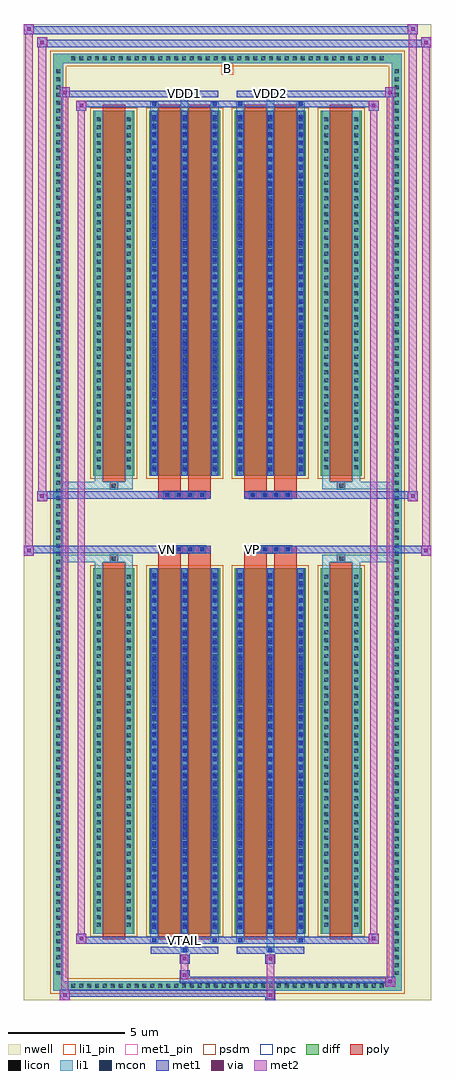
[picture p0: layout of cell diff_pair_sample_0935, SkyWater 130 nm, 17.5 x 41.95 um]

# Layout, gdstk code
import gdstk
lib = gdstk.Library(unit=1e-6, precision=5e-09)
def R(c, l, rs):  # rectangles x0, y0, x1, y1
    for r in rs: c.add(gdstk.rectangle(r[:2], r[2:], *l))
def A(c, l, x, y, w, h, nx, ny, dx, dy):  # array of equal rectangles
    R(c, l, [(x+i*dx, y+j*dy, x+i*dx+w, y+j*dy+h) for i in range(nx) for j in range(ny)])
def P(c, l, *ps):  # polygons
    for p in ps: c.add(gdstk.Polygon(p, *l))
nwell = (64, 20)
diff = (65, 20)
poly = (66, 20)
licon = (66, 44)
li1_pin = (67, 16)
li1 = (67, 20)
mcon = (67, 44)
met1_pin = (68, 16)
met1 = (68, 20)
via = (68, 44)
met2 = (69, 20)
psdm = (94, 20)
npc = (95, 20)

diff_pair_sample_0935 = lib.new_cell('diff_pair_sample_0935')
R(diff_pair_sample_0935, nwell, [(-8.75,-20.54,8.75,21.41), (-6.07,-18.73,-0.01,-0.805), (0.01,-18.73,6.07,-0.805), (-6.07,0.805,-0.01,18.73), (0.01,0.805,6.07,18.73)])
A(diff_pair_sample_0935, diff, -6.835, -20.14, 0.41, 0.41, 40, 2, 0.34, 39.87)
A(diff_pair_sample_0935, diff, -7.48, -19.585, 0.41, 0.41, 1, 115, 0, 0.34)
A(diff_pair_sample_0935, diff, 7.07, -19.585, 0.41, 0.41, 1, 115, 0, 0.34)
R(diff_pair_sample_0935, diff, [(-6.835,-20.14,6.835,-19.73), (-7.48,-19.585,-7.07,19.585), (7.07,-19.585,7.48,19.585), (-5.76,-17.685,-4.01,-1.985), (-3.37,-17.685,-0.32,-1.985), (0.32,-17.685,3.37,-1.985), (4.01,-17.685,5.76,-1.985), (-5.76,1.985,-4.01,17.685), (-3.37,1.985,-0.32,17.685), (0.32,1.985,3.37,17.685), (4.01,1.985,5.76,17.685), (-6.835,19.73,6.835,20.14)])
P(diff_pair_sample_0935, diff, [(7.48,20.14),(-7.48,20.14),(-7.48,-19.73),(-7.07,-19.73),(-7.07,19.73),(7.07,19.73),(7.07,-19.73),(-7.07,-19.73),(-7.48,-19.73),(-7.48,-20.14),(7.48,-20.14)])
A(diff_pair_sample_0935, poly, -2.76, -1.335, 0.33, 0.33, 4, 2, 0.5, 2.34)
A(diff_pair_sample_0935, poly, 0.93, -1.335, 0.33, 0.33, 4, 2, 0.5, 2.34)
R(diff_pair_sample_0935, poly, [(-5.37,-17.935,-4.4,-1.735), (-2.98,-17.935,-2.01,-1.735), (-1.68,-17.935,-0.71,-1.735), (0.71,-17.935,1.68,-1.735), (2.01,-17.935,2.98,-1.735), (4.4,-17.935,5.37,-1.735), (-5.05,-1.735,-4.72,-1.405), (-5.05,-1.735,-4.72,-1.405), (-2.98,-1.735,-2.01,-1.335), (-1.68,-1.735,-0.71,-1.335), (0.71,-1.735,1.68,-1.335), (2.01,-1.735,2.98,-1.335), (4.72,-1.735,5.05,-1.405), (4.72,-1.735,5.05,-1.405), (-2.98,-1.335,-0.71,-1.005), (0.71,-1.335,2.98,-1.005), (-2.98,1.005,-0.71,1.335), (0.71,1.005,2.98,1.335), (-2.98,1.335,-2.01,1.735), (-1.68,1.335,-0.71,1.735), (0.71,1.335,1.68,1.735), (2.01,1.335,2.98,1.735), (-5.05,1.405,-4.72,1.735), (-5.05,1.405,-4.72,1.735), (4.72,1.405,5.05,1.735), (4.72,1.405,5.05,1.735), (-5.37,1.735,-4.4,17.935), (-2.98,1.735,-2.01,17.935), (-1.68,1.735,-0.71,17.935), (0.71,1.735,1.68,17.935), (2.01,1.735,2.98,17.935), (4.4,1.735,5.37,17.935)])
A(diff_pair_sample_0935, licon, -6.715, -20.02, 0.17, 0.17, 40, 2, 0.34, 39.87)
A(diff_pair_sample_0935, licon, -7.36, -19.465, 0.17, 0.17, 1, 115, 0, 0.34)
A(diff_pair_sample_0935, licon, 7.19, -19.465, 0.17, 0.17, 1, 115, 0, 0.34)
A(diff_pair_sample_0935, licon, -5.62, -17.4, 0.17, 0.17, 1, 45, 0, 0.34)
A(diff_pair_sample_0935, licon, -4.32, -17.4, 0.17, 0.17, 1, 45, 0, 0.34)
A(diff_pair_sample_0935, licon, -3.23, -17.4, 0.17, 0.17, 3, 45, 1.3, 0.34)
A(diff_pair_sample_0935, licon, 0.46, -17.4, 0.17, 0.17, 3, 45, 1.3, 0.34)
A(diff_pair_sample_0935, licon, 4.15, -17.4, 0.17, 0.17, 1, 45, 0, 0.34)
A(diff_pair_sample_0935, licon, 5.45, -17.4, 0.17, 0.17, 1, 45, 0, 0.34)
A(diff_pair_sample_0935, licon, -2.68, -1.255, 0.17, 0.17, 4, 2, 0.5, 2.34)
A(diff_pair_sample_0935, licon, 1.01, -1.255, 0.17, 0.17, 4, 2, 0.5, 2.34)
A(diff_pair_sample_0935, licon, -5.62, 2.27, 0.17, 0.17, 1, 45, 0, 0.34)
A(diff_pair_sample_0935, licon, -4.32, 2.27, 0.17, 0.17, 1, 45, 0, 0.34)
A(diff_pair_sample_0935, licon, -3.23, 2.27, 0.17, 0.17, 3, 45, 1.3, 0.34)
A(diff_pair_sample_0935, licon, 0.46, 2.27, 0.17, 0.17, 3, 45, 1.3, 0.34)
A(diff_pair_sample_0935, licon, 4.15, 2.27, 0.17, 0.17, 1, 45, 0, 0.34)
A(diff_pair_sample_0935, licon, 5.45, 2.27, 0.17, 0.17, 1, 45, 0, 0.34)
R(diff_pair_sample_0935, licon, [(-4.97,-1.655,-4.8,-1.485), (4.8,-1.655,4.97,-1.485), (-4.97,1.485,-4.8,1.655), (4.8,1.485,4.97,1.655)])
R(diff_pair_sample_0935, li1_pin, [(-0.25,19.23,0.25,19.73)])
A(diff_pair_sample_0935, li1, -6.795, -20.1, 0.33, 0.33, 40, 2, 0.34, 39.87)
A(diff_pair_sample_0935, li1, -7.44, -19.545, 0.33, 0.33, 1, 115, 0, 0.34)
A(diff_pair_sample_0935, li1, 7.11, -19.545, 0.33, 0.33, 1, 115, 0, 0.34)
A(diff_pair_sample_0935, li1, -3.31, -17.685, 0.33, 15.7, 3, 2, 1.3, 19.67)
A(diff_pair_sample_0935, li1, 0.38, -17.685, 0.33, 15.7, 3, 2, 1.3, 19.67)
A(diff_pair_sample_0935, li1, -5.7, -17.48, 0.33, 0.33, 1, 45, 0, 0.34)
A(diff_pair_sample_0935, li1, -4.4, -17.48, 0.33, 0.33, 1, 45, 0, 0.34)
A(diff_pair_sample_0935, li1, -3.31, -17.48, 0.33, 0.33, 3, 45, 1.3, 0.34)
A(diff_pair_sample_0935, li1, -3.23, -17.48, 0.17, 0.17, 3, 43, 1.3, 0.36)
A(diff_pair_sample_0935, li1, -3.23, -17.48, 0.17, 15.29, 3, 2, 1.3, 19.67)
A(diff_pair_sample_0935, li1, 0.38, -17.48, 0.33, 0.33, 3, 45, 1.3, 0.34)
A(diff_pair_sample_0935, li1, 0.46, -17.48, 0.17, 0.17, 3, 43, 1.3, 0.36)
A(diff_pair_sample_0935, li1, 0.46, -17.48, 0.17, 15.29, 3, 2, 1.3, 19.67)
A(diff_pair_sample_0935, li1, 4.07, -17.48, 0.33, 0.33, 1, 45, 0, 0.34)
A(diff_pair_sample_0935, li1, 5.37, -17.48, 0.33, 0.33, 1, 45, 0, 0.34)
A(diff_pair_sample_0935, li1, -2.76, -1.335, 0.33, 0.33, 4, 2, 0.5, 2.34)
A(diff_pair_sample_0935, li1, 0.93, -1.335, 0.33, 0.33, 4, 2, 0.5, 2.34)
A(diff_pair_sample_0935, li1, -5.7, 2.19, 0.33, 0.33, 1, 45, 0, 0.34)
A(diff_pair_sample_0935, li1, -4.4, 2.19, 0.33, 0.33, 1, 45, 0, 0.34)
A(diff_pair_sample_0935, li1, -3.31, 2.19, 0.33, 0.33, 3, 45, 1.3, 0.34)
A(diff_pair_sample_0935, li1, -3.23, 2.19, 0.17, 0.17, 3, 43, 1.3, 0.36)
A(diff_pair_sample_0935, li1, 0.38, 2.19, 0.33, 0.33, 3, 45, 1.3, 0.34)
A(diff_pair_sample_0935, li1, 0.46, 2.19, 0.17, 0.17, 3, 43, 1.3, 0.36)
A(diff_pair_sample_0935, li1, 4.07, 2.19, 0.33, 0.33, 1, 45, 0, 0.34)
A(diff_pair_sample_0935, li1, 5.37, 2.19, 0.33, 0.33, 1, 45, 0, 0.34)
R(diff_pair_sample_0935, li1, [(-7.48,-20.14,-7.07,-19.73), (-7.48,-20.14,-7.07,-19.73), (-7.07,-20.14,7.07,-19.73), (7.07,-20.14,7.48,-19.73), (7.07,-20.14,7.48,-19.73), (-7.48,-19.73,-7.07,19.73), (7.07,-19.73,7.48,19.73), (-2.01,-18.49,-1.68,-17.685), (-1.93,-18.49,-1.76,-18.32), (1.68,-18.49,2.01,-17.685), (1.76,-18.49,1.93,-18.32), (-3.31,-18.06,-2.98,-17.685), (-3.23,-18.06,-3.06,-17.89), (-0.71,-18.06,-0.38,-17.685), (-0.63,-18.06,-0.46,-17.89), (0.38,-18.06,0.71,-17.685), (0.46,-18.06,0.63,-17.89), (2.98,-18.06,3.31,-17.685), (3.06,-18.06,3.23,-17.89), (-5.7,-17.685,-5.37,-1.985), (-4.4,-17.685,-4.07,-1.985), (4.07,-17.685,4.4,-1.985), (5.37,-17.685,5.7,-1.985), (-5.7,-1.985,-5.37,-1.405), (-4.4,-1.985,-4.07,-1.405), (4.07,-1.985,4.4,-1.405), (5.37,-1.985,5.7,-1.405), (-7.48,-1.735,-5.05,-1.405), (-5.7,-1.735,-5.05,-1.405), (-5.05,-1.735,-4.72,-1.405), (-4.72,-1.735,-4.07,-1.405), (4.07,-1.735,4.72,-1.405), (4.72,-1.735,5.05,-1.405), (4.72,-1.735,7.48,-1.405), (5.05,-1.735,5.7,-1.405), (-7.48,1.405,-5.05,1.735), (-5.7,1.405,-5.05,1.735), (-5.7,1.405,-5.37,1.985), (-5.05,1.405,-4.72,1.735), (-4.72,1.405,-4.07,1.735), (-4.4,1.405,-4.07,1.985), (4.07,1.405,4.72,1.735), (4.07,1.405,4.4,1.985), (4.72,1.405,5.05,1.735), (4.72,1.405,7.48,1.735), (5.05,1.405,5.7,1.735), (5.37,1.405,5.7,1.985), (-5.7,1.985,-5.37,17.685), (-4.4,1.985,-4.07,17.685), (4.07,1.985,4.4,17.685), (5.37,1.985,5.7,17.685), (-3.31,17.685,-2.98,18.06), (-2.01,17.685,-1.68,18.49), (-0.71,17.685,-0.38,18.06), (0.38,17.685,0.71,18.06), (1.68,17.685,2.01,18.49), (2.98,17.685,3.31,18.06), (-3.23,17.89,-3.06,18.06), (-0.63,17.89,-0.46,18.06), (0.46,17.89,0.63,18.06), (3.06,17.89,3.23,18.06), (-1.93,18.32,-1.76,18.49), (1.76,18.32,1.93,18.49), (-7.48,19.73,-7.07,20.14), (-7.48,19.73,-7.07,20.14), (-7.07,19.73,7.07,20.14), (7.07,19.73,7.48,20.14), (7.07,19.73,7.48,20.14)])
A(diff_pair_sample_0935, mcon, -3.23, -17.48, 0.17, 0.17, 3, 43, 1.3, 0.36)
A(diff_pair_sample_0935, mcon, 0.46, -17.48, 0.17, 0.17, 3, 43, 1.3, 0.36)
A(diff_pair_sample_0935, mcon, -2.68, -1.255, 0.17, 0.17, 4, 2, 0.5, 2.34)
A(diff_pair_sample_0935, mcon, 1.01, -1.255, 0.17, 0.17, 4, 2, 0.5, 2.34)
A(diff_pair_sample_0935, mcon, -3.23, 2.19, 0.17, 0.17, 3, 43, 1.3, 0.36)
A(diff_pair_sample_0935, mcon, 0.46, 2.19, 0.17, 0.17, 3, 43, 1.3, 0.36)
R(diff_pair_sample_0935, mcon, [(-1.93,-18.49,-1.76,-18.32), (1.76,-18.49,1.93,-18.32), (-3.23,-18.06,-3.06,-17.89), (-0.63,-18.06,-0.46,-17.89), (0.46,-18.06,0.63,-17.89), (3.06,-18.06,3.23,-17.89), (-3.23,17.89,-3.06,18.06), (-0.63,17.89,-0.46,18.06), (0.46,17.89,0.63,18.06), (3.06,17.89,3.23,18.06), (-1.93,18.32,-1.76,18.49), (1.76,18.32,1.93,18.49)])
R(diff_pair_sample_0935, met1_pin, [(-1.98,-18.1,-1.71,-17.83), (-2.73,-1.295,-2.46,-1.025), (0.96,-1.295,1.23,-1.025), (-1.98,18.28,-1.71,18.55), (1.71,18.28,1.98,18.55)])
A(diff_pair_sample_0935, met1, -3.29, -17.685, 0.29, 15.7, 3, 2, 1.3, 19.67)
A(diff_pair_sample_0935, met1, 0.4, -17.685, 0.29, 15.7, 3, 2, 1.3, 19.67)
A(diff_pair_sample_0935, met1, -3.29, -17.54, 0.29, 0.29, 3, 43, 1.3, 0.36)
A(diff_pair_sample_0935, met1, 0.4, -17.54, 0.29, 0.29, 3, 43, 1.3, 0.36)
A(diff_pair_sample_0935, met1, -2.74, -1.315, 0.29, 0.29, 4, 2, 0.5, 2.34)
A(diff_pair_sample_0935, met1, 0.95, -1.315, 0.29, 0.29, 4, 2, 0.5, 2.34)
A(diff_pair_sample_0935, met1, -3.29, 2.13, 0.29, 0.29, 3, 43, 1.3, 0.36)
A(diff_pair_sample_0935, met1, 0.4, 2.13, 0.29, 0.29, 3, 43, 1.3, 0.36)
R(diff_pair_sample_0935, met1, [(-7.21,-20.54,-6.78,-20.11), (1.63,-20.54,2.06,-20.11), (-7.21,-20.4,2.06,-20.11), (6.78,-19.97,7.21,-19.54), (-2.06,-19.83,7.21,-19.54), (-2.06,-19.69,-1.63,-19.26), (-2.06,-18.98,-1.63,-18.55), (1.63,-18.98,2.06,-18.55), (-3.29,-18.55,-0.4,-18.26), (-1.99,-18.55,-1.7,-18.26), (0.4,-18.55,3.29,-18.26), (1.7,-18.55,1.99,-18.26), (-6.5,-18.12,-6.07,-17.69), (-6.5,-18.12,-3.29,-17.83), (-3.29,-18.12,-3,-17.83), (-3.29,-18.12,-0.4,-17.83), (-0.69,-18.12,-0.4,-17.83), (-0.4,-18.12,0.4,-17.83), (0.4,-18.12,0.69,-17.83), (0.4,-18.12,3.29,-17.83), (3,-18.12,3.29,-17.83), (3.29,-18.12,6.5,-17.83), (6.07,-18.12,6.5,-17.69), (-8.75,-1.435,-8.32,-1.005), (8.32,-1.435,8.75,-1.005), (-8.75,-1.335,-0.71,-1.005), (-2.98,-1.335,-0.71,-1.005), (0.71,-1.335,2.98,-1.005), (0.71,-1.335,8.75,-1.005), (-8.18,0.905,-7.75,1.335), (7.75,0.905,8.18,1.335), (-8.18,1.005,-2.98,1.335), (-2.98,1.005,-0.71,1.335), (0.71,1.005,2.98,1.335), (2.98,1.005,8.18,1.335), (-6.5,17.69,-6.07,18.12), (6.07,17.69,6.5,18.12), (-6.5,17.83,-3.29,18.12), (-3.29,17.83,-3,18.12), (-3.29,17.83,-0.4,18.12), (-0.69,17.83,-0.4,18.12), (-0.4,17.83,0.4,18.12), (0.4,17.83,0.69,18.12), (0.4,17.83,3.29,18.12), (3,17.83,3.29,18.12), (3.29,17.83,6.5,18.12), (-7.21,18.26,-6.78,18.69), (-7.21,18.26,-3.29,18.55), (-3.29,18.26,-0.4,18.55), (-1.99,18.26,-1.7,18.55), (0.4,18.26,3.29,18.55), (1.7,18.26,1.99,18.55), (3.29,18.26,7.21,18.55), (6.78,18.26,7.21,18.69), (-8.18,20.41,-7.75,20.84), (-8.18,20.41,-6.07,20.74), (-6.07,20.41,6.07,20.74), (6.07,20.41,8.75,20.74), (8.32,20.41,8.75,20.84), (-8.75,20.98,-8.32,21.41), (-8.75,20.98,-6.07,21.31), (-6.07,20.98,6.07,21.31), (6.07,20.98,8.18,21.31), (7.75,20.98,8.18,21.41)])
R(diff_pair_sample_0935, via, [(-7.07,-20.4,-6.92,-20.25), (1.77,-20.4,1.92,-20.25), (6.92,-19.83,7.07,-19.68), (-1.92,-19.55,-1.77,-19.4), (-1.92,-18.84,-1.77,-18.69), (1.77,-18.84,1.92,-18.69), (-6.36,-17.98,-6.21,-17.83), (6.21,-17.98,6.36,-17.83), (-8.61,-1.295,-8.46,-1.145), (8.46,-1.295,8.61,-1.145), (-8.04,1.045,-7.89,1.195), (7.89,1.045,8.04,1.195), (-6.36,17.83,-6.21,17.98), (6.21,17.83,6.36,17.98), (-7.07,18.4,-6.92,18.55), (6.92,18.4,7.07,18.55), (-8.04,20.55,-7.89,20.7), (8.46,20.55,8.61,20.7), (-8.61,21.12,-8.46,21.27), (7.89,21.12,8.04,21.27)])
R(diff_pair_sample_0935, met2, [(-7.21,-20.54,-6.78,-20.11), (-7.14,-20.54,-6.85,18.69), (-6.85,-20.54,-6.78,-20.11), (-7.16,-20.49,-6.83,-20.16), (1.68,-20.49,2.01,-20.16), (1.68,-20.16,2.01,-18.93), (6.78,-19.97,7.21,-19.54), (6.85,-19.97,7.14,18.69), (7.14,-19.97,7.21,-19.54), (6.83,-19.92,7.16,-19.59), (-2.01,-19.64,-1.68,-19.31), (-2.01,-19.31,-1.68,-18.93), (-2.01,-18.93,-1.68,-18.6), (1.68,-18.93,2.01,-18.6), (-6.5,-18.12,-6.07,-17.69), (-6.43,-18.12,-6.14,18.12), (-6.14,-18.12,-6.07,-17.69), (6.07,-18.12,6.5,-17.69), (6.14,-18.12,6.43,18.12), (6.43,-18.12,6.5,-17.69), (-6.45,-18.07,-6.12,-17.74), (6.12,-18.07,6.45,-17.74), (-8.75,-1.435,-8.32,-1.005), (-8.7,-1.435,-8.37,21.41), (-8.37,-1.435,-8.32,-1.005), (8.32,-1.435,8.75,-1.005), (8.37,-1.435,8.7,20.84), (8.7,-1.435,8.75,-1.005), (-8.7,-1.385,-8.37,-1.055), (8.37,-1.385,8.7,-1.055), (-8.18,0.905,-7.75,1.335), (-8.13,0.905,-7.8,20.84), (-7.8,0.905,-7.75,1.335), (7.75,0.905,8.18,1.335), (7.8,0.905,8.13,21.41), (8.13,0.905,8.18,1.335), (-8.13,0.955,-7.8,1.285), (7.8,0.955,8.13,1.285), (-6.5,17.69,-6.07,18.12), (-6.14,17.69,-6.07,18.12), (6.07,17.69,6.5,18.12), (6.43,17.69,6.5,18.12), (-6.45,17.74,-6.12,18.07), (6.12,17.74,6.45,18.07), (-7.21,18.26,-6.78,18.69), (-6.85,18.26,-6.78,18.69), (6.78,18.26,7.21,18.69), (7.14,18.26,7.21,18.69), (-7.16,18.31,-6.83,18.64), (6.83,18.31,7.16,18.64), (-8.18,20.41,-7.75,20.84), (-7.8,20.41,-7.75,20.84), (8.32,20.41,8.75,20.84), (8.7,20.41,8.75,20.84), (-8.13,20.46,-7.8,20.79), (8.37,20.46,8.7,20.79), (-8.75,20.98,-8.32,21.41), (-8.37,20.98,-8.32,21.41), (7.75,20.98,8.18,21.41), (8.13,20.98,8.18,21.41), (-8.7,21.03,-8.37,21.36), (7.8,21.03,8.13,21.36)])
R(diff_pair_sample_0935, psdm, [(-5.89,-17.815,-3.88,-1.855), (-3.5,-17.815,-0.19,-1.855), (0.19,-17.815,3.5,-1.855), (3.88,-17.815,5.89,-1.855), (-5.89,1.855,-3.88,17.815), (-3.5,1.855,-0.19,17.815), (0.19,1.855,3.5,17.815), (3.88,1.855,5.89,17.815)])
P(diff_pair_sample_0935, psdm, [(7.61,20.27),(-7.61,20.27),(-7.61,-19.6),(-6.94,-19.6),(-6.94,19.6),(6.94,19.6),(6.94,-19.6),(-6.94,-19.6),(-7.61,-19.6),(-7.61,-20.27),(7.61,-20.27)])
A(diff_pair_sample_0935, npc, -2.78, -1.355, 0.37, 0.37, 4, 2, 0.5, 2.34)
A(diff_pair_sample_0935, npc, 0.91, -1.355, 0.37, 0.37, 4, 2, 0.5, 2.34)
R(diff_pair_sample_0935, npc, [(-5.07,-1.755,-4.7,-1.385), (4.7,-1.755,5.07,-1.385), (-2.78,-1.355,-1.91,-0.985), (-2.78,-1.355,-1.91,-0.985), (-2.28,-1.355,-1.41,-0.985), (-2.28,-1.355,-1.41,-0.985), (-1.78,-1.355,-0.91,-0.985), (-1.78,-1.355,-0.91,-0.985), (0.91,-1.355,1.78,-0.985), (0.91,-1.355,1.78,-0.985), (1.41,-1.355,2.28,-0.985), (1.41,-1.355,2.28,-0.985), (1.91,-1.355,2.78,-0.985), (1.91,-1.355,2.78,-0.985), (-2.78,0.985,-1.91,1.355), (-2.78,0.985,-1.91,1.355), (-2.28,0.985,-1.41,1.355), (-2.28,0.985,-1.41,1.355), (-1.78,0.985,-0.91,1.355), (-1.78,0.985,-0.91,1.355), (0.91,0.985,1.78,1.355), (0.91,0.985,1.78,1.355), (1.41,0.985,2.28,1.355), (1.41,0.985,2.28,1.355), (1.91,0.985,2.78,1.355), (1.91,0.985,2.78,1.355), (-5.07,1.385,-4.7,1.755), (4.7,1.385,5.07,1.755)])
diff_pair_sample_0935.add(gdstk.Label('VTAIL', (-1.845,-17.965), layer=68, texttype=5))
diff_pair_sample_0935.add(gdstk.Label('VN', (-2.595,-1.16), layer=68, texttype=5))
diff_pair_sample_0935.add(gdstk.Label('VP', (1.095,-1.16), layer=68, texttype=5))
diff_pair_sample_0935.add(gdstk.Label('B', (0,19.48), layer=67, texttype=5))
diff_pair_sample_0935.add(gdstk.Label('VDD2', (1.845,18.415), layer=68, texttype=5))
diff_pair_sample_0935.add(gdstk.Label('VDD1', (-1.845,18.415), layer=68, texttype=5))

lib.write_gds('diff_pair_sample_0935.gds')
